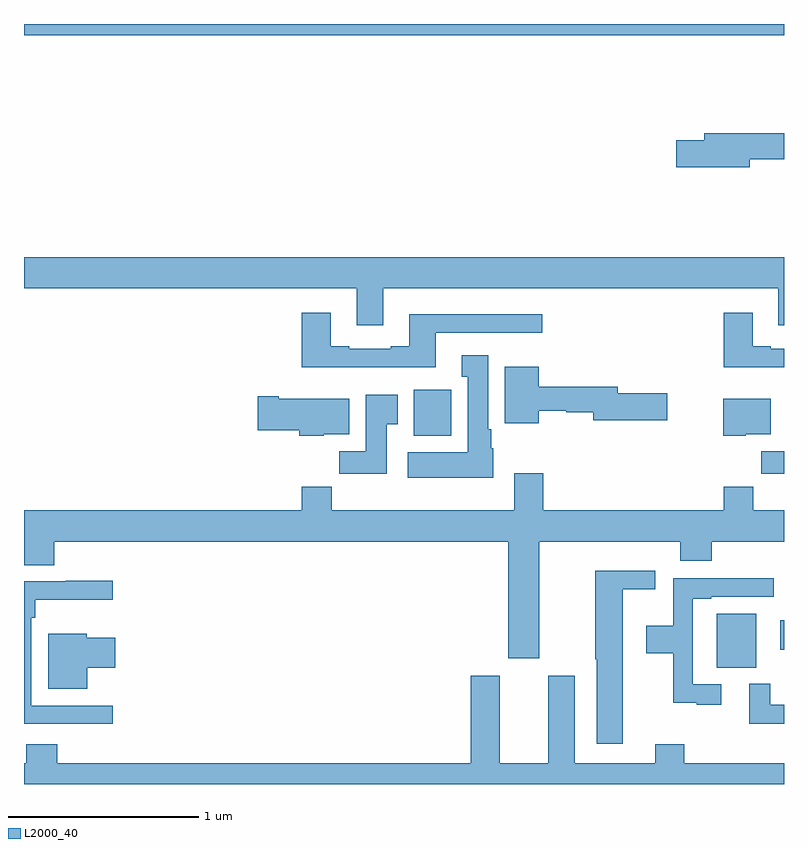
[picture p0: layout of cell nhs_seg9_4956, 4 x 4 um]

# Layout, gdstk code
import gdstk
lib = gdstk.Library(unit=1e-6, precision=1e-09)
def R(c, l, rs):  # rectangles x0, y0, x1, y1
    for r in rs: c.add(gdstk.rectangle(r[:2], r[2:], *l))
def P(c, l, *ps):  # polygons
    for p in ps: c.add(gdstk.Polygon(p, *l))
L2000_40 = (2000, 40)

nhs_seg9_4956 = lib.new_cell('nhs_seg9_4956')
R(nhs_seg9_4956, L2000_40, [(402.647,1173.113,402.853,1173.397), (402.981,1173.207,403,1173.363), (402.88,1174.134,403,1174.252), (401.051,1174.334,401.248,1174.576), (399,1176.44,403,1176.5)])
P(nhs_seg9_4956, L2000_40, [(402.82,1175.788),(403,1175.788),(403,1175.924),(402.581,1175.924),(402.581,1175.888),(402.432,1175.888),(402.432,1175.746),(402.82,1175.746)],
  [(400.891,1175.108),(402.971,1175.108),(402.971,1174.914),(403,1174.914),(403,1175.272),(399,1175.272),(399,1175.108),(400.751,1175.108),(400.751,1174.914),(400.891,1174.914)],
  [(401.167,1174.875),(401.728,1174.875),(401.728,1174.972),(401.027,1174.972),(401.027,1174.804),(400.931,1174.804),(400.931,1174.791),(400.711,1174.791),(400.711,1174.804),(400.615,1174.804),(400.615,1174.981),(400.463,1174.981),(400.463,1174.694),(401.167,1174.694)],
  [(403,1174.791),(402.931,1174.791),(402.931,1174.804),(402.835,1174.804),(402.835,1174.981),(402.683,1174.981),(402.683,1174.694),(403,1174.694)],
  [(401.47,1174.266),(401.458,1174.266),(401.458,1174.366),(401.443,1174.366),(401.443,1174.756),(401.303,1174.756),(401.303,1174.643),(401.336,1174.643),(401.336,1174.246),(401.019,1174.246),(401.019,1174.112),(401.47,1174.112)],
  [(401.71,1174.464),(401.853,1174.464),(401.853,1174.456),(401.996,1174.456),(401.996,1174.414),(402.385,1174.414),(402.385,1174.556),(402.124,1174.556),(402.124,1174.592),(401.71,1174.592),(401.71,1174.696),(401.531,1174.696),(401.531,1174.4),(401.71,1174.4)],
  [(400.909,1174.393),(400.966,1174.393),(400.966,1174.549),(400.799,1174.549),(400.799,1174.252),(400.66,1174.252),(400.66,1174.134),(400.909,1174.134)],
  [(400.578,1174.34),(400.711,1174.34),(400.711,1174.528),(400.342,1174.528),(400.342,1174.541),(400.23,1174.541),(400.23,1174.363),(400.448,1174.363),(400.448,1174.334),(400.578,1174.334)],
  [(402.798,1174.34),(402.931,1174.34),(402.931,1174.528),(402.68,1174.528),(402.68,1174.334),(402.798,1174.334)],
  [(401.713,1173.776),(402.455,1173.776),(402.455,1173.674),(402.62,1173.674),(402.62,1173.776),(403,1173.776),(403,1173.94),(402.839,1173.94),(402.839,1174.064),(402.683,1174.064),(402.683,1173.94),(401.732,1173.94),(401.732,1174.135),(401.579,1174.135),(401.579,1173.94),(400.619,1173.94),(400.619,1174.064),(400.463,1174.064),(400.463,1173.94),(399,1173.94),(399,1173.652),(399.158,1173.652),(399.158,1173.776),(401.549,1173.776),(401.549,1173.162),(401.713,1173.162)],
  [(402.151,1173.524),(402.322,1173.524),(402.322,1173.622),(402.007,1173.622),(402.007,1173.157),(402.014,1173.157),(402.014,1172.712),(402.151,1172.712)],
  [(402.67,1173.024),(402.519,1173.024),(402.519,1173.474),(402.616,1173.474),(402.616,1173.486),(402.946,1173.486),(402.946,1173.584),(402.703,1173.584),(402.703,1173.582),(402.418,1173.582),(402.418,1173.334),(402.276,1173.334),(402.276,1173.187),(402.418,1173.187),(402.418,1172.927),(402.542,1172.927),(402.542,1172.916),(402.67,1172.916)],
  [(399.466,1172.913),(399.039,1172.913),(399.039,1173.374),(399.059,1173.374),(399.059,1173.47),(399.466,1173.47),(399.466,1173.571),(399.221,1173.571),(399.221,1173.567),(399,1173.567),(399,1172.817),(399.466,1172.817)],
  [(399.334,1173.113),(399.481,1173.113),(399.481,1173.271),(399.33,1173.271),(399.33,1173.292),(399.128,1173.292),(399.128,1173.002),(399.334,1173.002)],
  [(403,1172.608),(402.476,1172.608),(402.476,1172.71),(402.323,1172.71),(402.323,1172.608),(401.899,1172.608),(401.899,1173.07),(401.759,1173.07),(401.759,1172.608),(401.503,1172.608),(401.503,1173.07),(401.351,1173.07),(401.351,1172.608),(399.176,1172.608),(399.176,1172.71),(399.011,1172.71),(399.011,1172.608),(399,1172.608),(399,1172.5),(403,1172.5)],
  [(403,1172.918),(402.928,1172.918),(402.928,1173.028),(402.818,1173.028),(402.818,1172.817),(403,1172.817)])

lib.write_gds('nhs_seg9_4956.gds')
